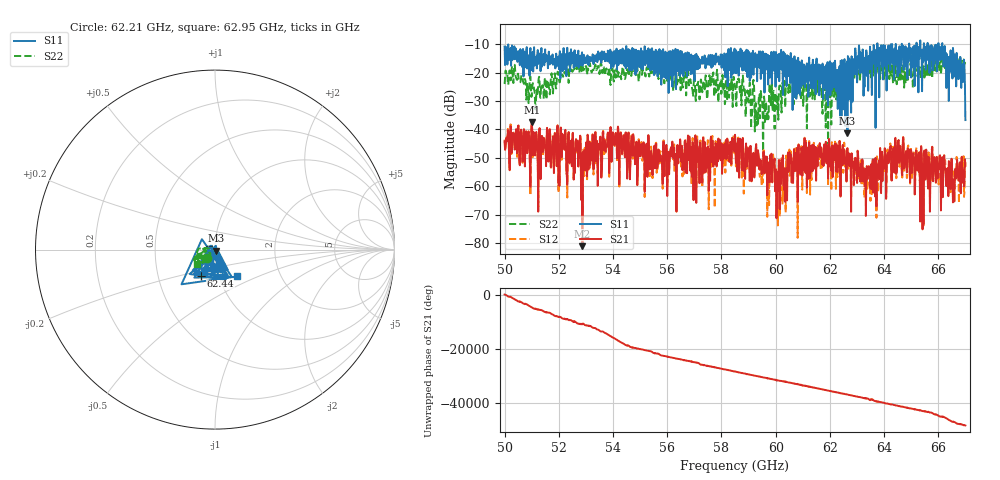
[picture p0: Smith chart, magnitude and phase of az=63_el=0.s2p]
!Created with skrf (http://scikit-rf.org).
# GHz S RI R 50.0
!freq ReS11 ImS11 ReS21 ImS21 ReS12 ImS12 ReS22 ImS22
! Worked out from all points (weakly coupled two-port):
!   1001 points, 50 GHz to 67 GHz, reference 50 ohm
!   highest |S21| = -37.40 dB at 51 GHz (marker M1); lowest = -81.2 dB at 52.87 GHz (marker M2)
!   lowest |S11| = -41.4 dB at 62.65 GHz (marker M3), VSWR 1.02, Z = 50.5 - j0.692 ohm
!   |S11| at or under -10 dB: start of sweep to 63.75 GHz; 63.75 GHz to 64.25 GHz (491.4 MHz wide, 0.768 % of centre); 66.15 GHz to end of sweep (the widest 3 of 13)
!   |S22| runs from -49.5 to -14.1 dB; largest |S21 - S12| = 0.0021
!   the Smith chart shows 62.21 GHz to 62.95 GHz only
!   S11 on the Smith chart (normalised r, x): 62.21 GHz: 1.05, -0.21; 62.44 GHz: 0.82, -0.25; 62.95 GHz: 1.22, -0.38
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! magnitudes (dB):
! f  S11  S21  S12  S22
! 50 GHz  -10.8  -44.2  -43.6  -24.0
! 51 GHz  -14.4  -37.4  -37.5  -28.1
! 52.16 GHz  -15.0  -44.8  -44.8  -21.4
! 52.84 GHz  -14.3  -48.5  -48.1  -19.5
! 52.87 GHz  -17.5  -81.2  -71.6  -17.8
! 54.11 GHz  -13.4  -42.4  -42.1  -20.7
! 55.68 GHz  -14.2  -47.1  -46.9  -22.3
! 58.5 GHz  -20.1  -41.9  -41.9  -25.0
! 59.61 GHz  -13.3  -50.0  -49.8  -38.1
! 59.91 GHz  -18.0  -52.1  -49.4  -26.5
! 60.06 GHz  -13.9  -54.9  -55.8  -27.9
! 60.52 GHz  -16.6  -51.9  -56.4  -25.0
! 61.34 GHz  -23.2  -47.4  -47.5  -26.2
! 62.21 GHz  -19.5  -47.5  -47.9  -24.0
! 62.44 GHz  -15.5  -52.8  -51.2  -24.8
! 62.65 GHz  -41.4  -46.6  -47.1  -23.4
! 62.95 GHz  -14.3  -54.2  -55.6  -18.0
! 63.46 GHz  -18.6  -56.0  -56.6  -17.3
! 64.18 GHz  -16.9  -50.7  -48.9  -18.5
! 66.08 GHz  -15.6  -54.3  -55.1  -15.7
! 66.9 GHz  -17.0  -54.4  -53.5  -15.2
! 67 GHz  -36.7  -52.8  -51.6  -15.4
